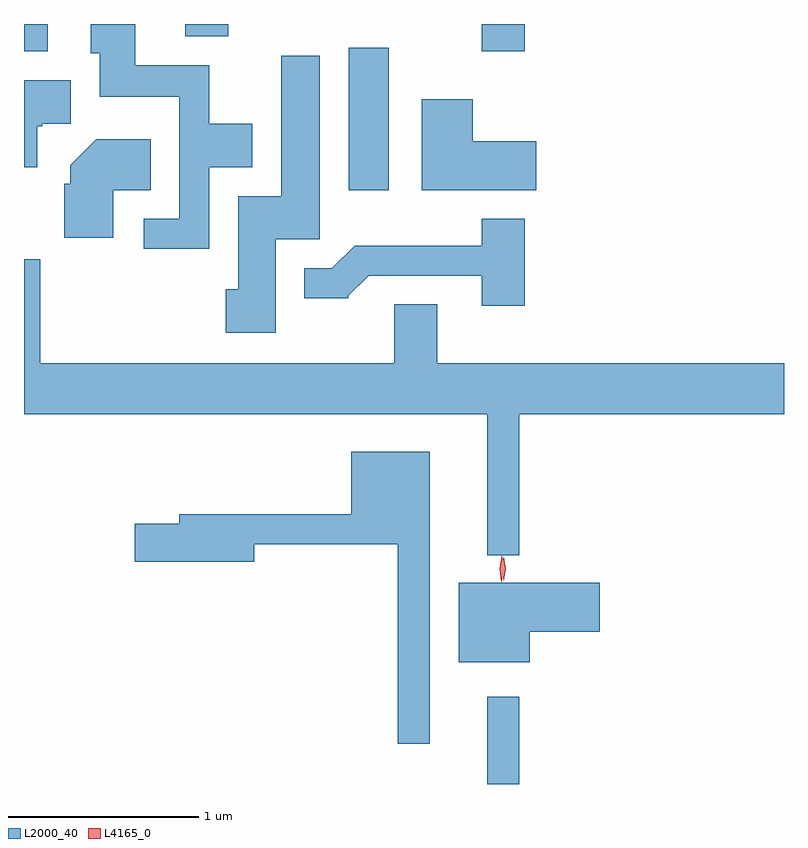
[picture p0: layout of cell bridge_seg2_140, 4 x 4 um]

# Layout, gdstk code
import gdstk
lib = gdstk.Library(unit=1e-6, precision=1e-09)
def R(c, l, rs):  # rectangles x0, y0, x1, y1
    for r in rs: c.add(gdstk.rectangle(r[:2], r[2:], *l))
def P(c, l, *ps):  # polygons
    for p in ps: c.add(gdstk.Polygon(p, *l))
L2000_40 = (2000, 40)
L4165_0 = (4165, 0)

bridge_seg2_140 = lib.new_cell('bridge_seg2_140')
R(bridge_seg2_140, L2000_40, [(998.561,1046.37,998.729,1046.828), (997.831,1049.496,998.044,1050.244), (996.123,1050.226,996.249,1050.37), (998.531,1050.226,998.759,1050.37), (996.971,1050.306,997.199,1050.37)])
P(bridge_seg2_140, L2000_40, [(997.099,1049.616),(997.324,1049.616),(997.324,1049.844),(997.099,1049.844),(997.099,1050.154),(996.709,1050.154),(996.709,1050.37),(996.473,1050.37),(996.473,1050.216),(996.521,1050.216),(996.521,1049.986),(996.941,1049.986),(996.941,1049.344),(996.753,1049.344),(996.753,1049.186),(997.099,1049.186)],
  [(997.449,1049.236),(997.679,1049.236),(997.679,1050.204),(997.476,1050.204),(997.476,1049.464),(997.251,1049.464),(997.251,1048.974),(997.186,1048.974),(997.186,1048.746),(997.449,1048.746)],
  [(996.194,1049.831),(996.22,1049.831),(996.22,1049.846),(996.369,1049.846),(996.369,1050.074),(996.123,1050.074),(996.123,1049.616),(996.194,1049.616)],
  [(998.819,1049.754),(998.484,1049.754),(998.484,1049.974),(998.216,1049.974),(998.216,1049.496),(998.819,1049.496)],
  [(996.594,1049.496),(996.789,1049.496),(996.789,1049.764),(996.504,1049.764),(996.366,1049.627),(996.366,1049.529),(996.336,1049.529),(996.336,1049.246),(996.594,1049.246)],
  [(998.759,1049.344),(998.531,1049.344),(998.531,1049.204),(997.864,1049.204),(997.744,1049.084),(997.598,1049.084),(997.598,1048.926),(997.83,1048.926),(997.83,1048.94),(997.937,1049.046),(998.531,1049.046),(998.531,1048.886),(998.759,1048.886)],
  [(998.729,1048.316),(1000.123,1048.316),(1000.123,1048.584),(998.299,1048.584),(998.299,1048.894),(998.071,1048.894),(998.071,1048.584),(996.209,1048.584),(996.209,1049.133),(996.123,1049.133),(996.123,1048.316),(998.561,1048.316),(998.561,1047.573),(998.729,1047.573)],
  [(998.259,1048.119),(997.846,1048.119),(997.846,1047.789),(996.941,1047.789),(996.941,1047.739),(996.706,1047.739),(996.706,1047.541),(997.334,1047.541),(997.334,1047.631),(998.091,1047.631),(998.091,1046.583),(998.259,1046.583)],
  [(998.784,1047.171),(999.154,1047.171),(999.154,1047.429),(998.411,1047.429),(998.411,1047.011),(998.784,1047.011)])
P(bridge_seg2_140, L4165_0, [(998.648,1047.44),(998.648,1047.44),(998.638,1047.503),(998.648,1047.566),(998.648,1047.567),(998.649,1047.566),(998.658,1047.503),(998.649,1047.44)],
  [(998.636,1047.434),(998.636,1047.434),(998.627,1047.502),(998.638,1047.57),(998.638,1047.57),(998.639,1047.57),(998.647,1047.502),(998.637,1047.434)])

lib.write_gds('bridge_seg2_140.gds')
